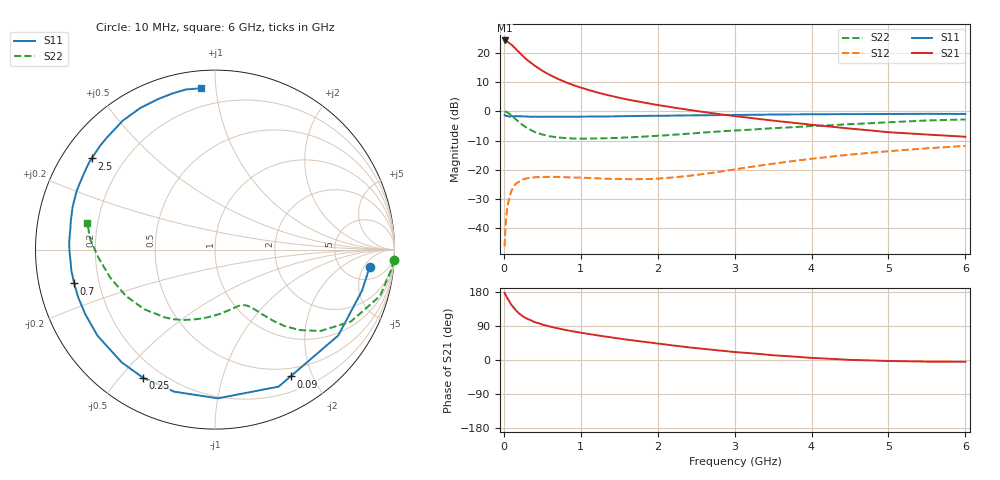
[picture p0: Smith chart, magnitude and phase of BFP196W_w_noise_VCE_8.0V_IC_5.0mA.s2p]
! Infineon Technologies  Discrete & RF Semiconductors
! BFP196W
! VCE =  8.0 V,  IC =  5.0 mA
! Common Emitter S-Parameters:  Jan 2017
# GHz  S  MA  R  50
!  f  S11  S21  S12  S22
! GHz  MAG  ANG  MAG  ANG  MAG  ANG  MAG  ANG
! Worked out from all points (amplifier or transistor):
!   77 points, 10 MHz to 6 GHz, reference 50 ohm
!   highest |S21| = 24.3 dB at 10 MHz (marker M1)
!   |S21| within 3 dB of that: start of sweep to 158.9 MHz
!   unconditionally stable (mu >= 1): 1.596 GHz to 3.085 GHz
!   at 130 MHz: K = 0.09, MSG = 23.9 dB, |S12| = -25.8 dB
!   at 2.2 GHz: K = 1.15, MAG = 9.6 dB, |S12| = -22.6 dB
!   at 6 GHz: K = 0.90, MSG = 1.6 dB, |S12| = -11.8 dB
!   lowest NFmin = 0.90 dB at 450 MHz
!   S11 on the Smith chart (normalised r, x): 10 MHz: 9, -7; 90 MHz: 0.39, -1.69; 250 MHz: 0.13, -0.58; 700 MHz: 0.11, -0.12; 2.5 GHz: 0.09, +0.33; 6 GHz: 0.09, +0.91
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0.01  0.867 -6.5  16.38 177.2  0.0049 84.6  0.9965 -3.3
0.02  0.8505 -15.6  16.19 172.4  0.0098 81.3  0.9896 -6.3
0.05  0.837 -34.9  15.56 161.4  0.0246 72.5  0.9555 -15.7
0.09  0.8224 -59.2  14.11 148.6  0.04 59.7  0.8724 -25.3
0.1  0.8417 -65.1  13.87 145.0  0.044 57.9  0.8559 -28.0
0.15  0.8288 -88.9  11.92 132.4  0.0568 46.1  0.7418 -37.7
0.2  0.8235 -106.0  10.19 122.5  0.0629 38.2  0.6497 -43.6
0.25  0.8188 -119.4  8.795 114.8  0.0682 32.5  0.576 -47.7
0.3  0.8155 -129.6  7.665 109.0  0.0713 27.9  0.5183 -50.5
0.4  0.8116 -143.8  6.06 100.1  0.0743 22.3  0.444 -54.0
0.5  0.8076 -153.6  4.956 93.6  0.0752 19.0  0.4008 -56.4
0.6  0.8071 -160.9  4.186 88.2  0.0754 16.9  0.374 -58.4
0.7  0.8071 -166.5  3.606 83.6  0.0753 15.2  0.357 -60.6
0.9  0.8076 -175.8  2.824 75.5  0.0734 15.0  0.343 -65.2
1.1  0.8134 177.3  2.325 68.8  0.072 15.4  0.3412 -70.2
1.5  0.8224 166.1  1.709 56.7  0.0696 20.5  0.3517 -81.8
2.1  0.8415 151.7  1.223 41.0  0.072 34.5  0.3883 -100.1
2.5  0.8541 143.5  1.017 31.4  0.0814 44.0  0.4233 -112.4
3.1  0.8687 132.5  0.801 19.5  0.1062 50.9  0.477 -129.5
4.1  0.8919 116.4  0.572 4.6  0.1592 50.0  0.5665 -155.2
5.1  0.902 104.3  0.431 -2.9  0.2122 42.1  0.6585 -177.8
6  0.9023 95.1  0.367 -4.6  0.2558 33.5  0.7273 168.1
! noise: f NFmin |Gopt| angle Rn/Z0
0.45  0.9  0.44  123  0.09
0.9  1.32  0.6  159  0.06
1.9  2.72  0.75  -161  0.11
2.4  3.29  0.8  -151  0.28
